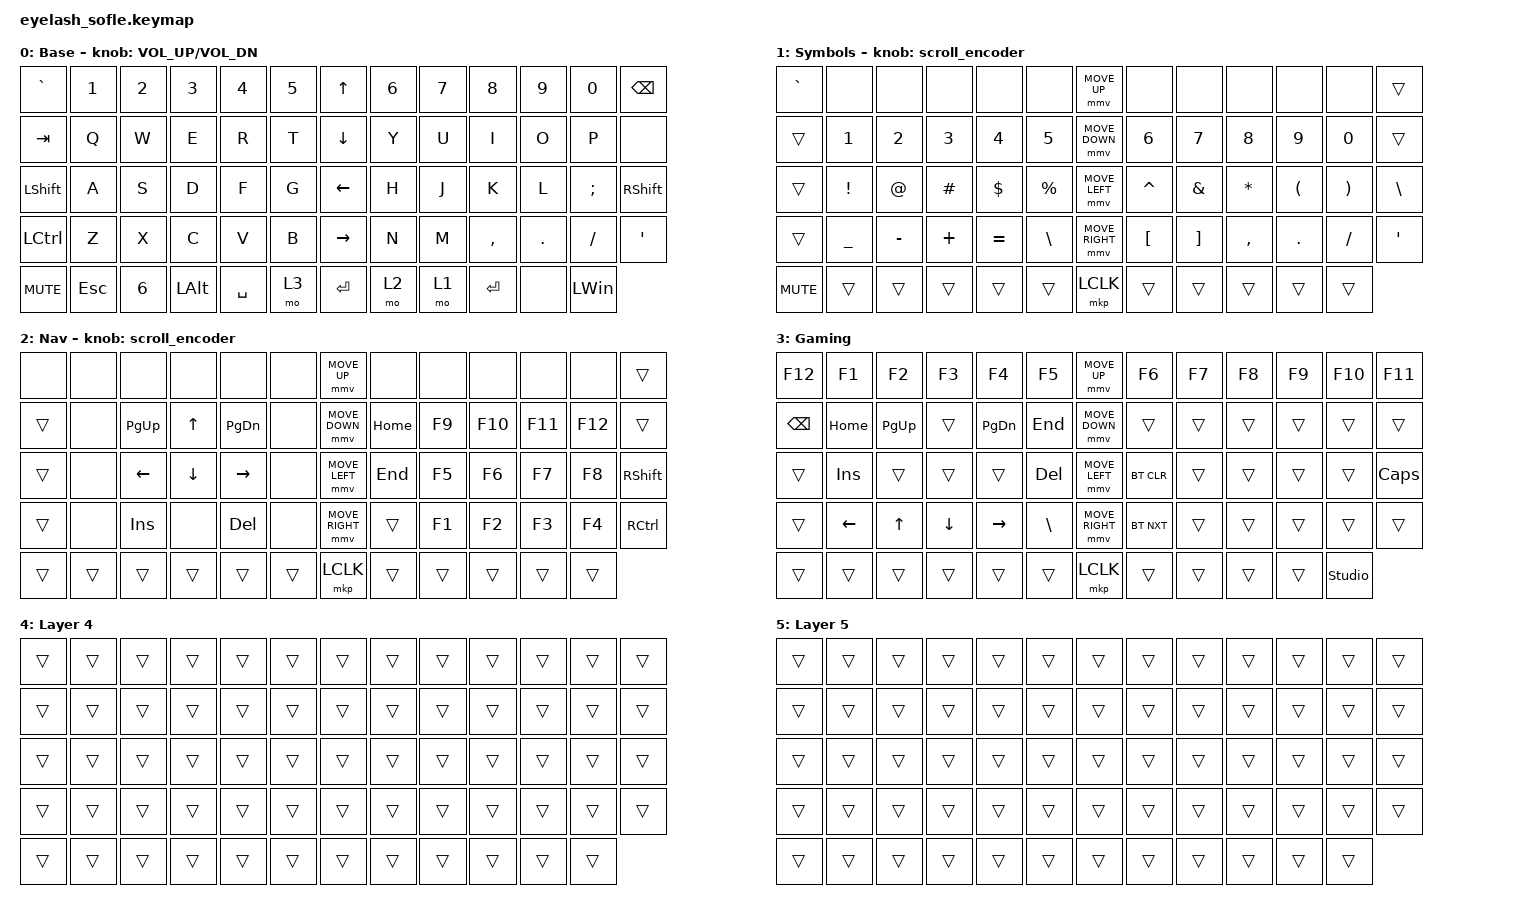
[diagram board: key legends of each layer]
#define ZMK_POINTING_DEFAULT_MOVE_VAL 1200  // 600
#define ZMK_POINTING_DEFAULT_SCRL_VAL 25   // 10

#include <input/processors.dtsi>
#include <zephyr/dt-bindings/input/input-event-codes.h>
#include <behaviors.dtsi>
#include <dt-bindings/zmk/bt.h>
#include <dt-bindings/zmk/keys.h>
#include <dt-bindings/zmk/pointing.h>

&mmv_input_listener { input-processors = <&zip_xy_scaler 2 1>; };

&msc_input_listener { input-processors = <&zip_scroll_scaler 2 1>; };

&msc {
    acceleration-exponent = <1>;      // 0
    time-to-max-speed-ms = <100>;       // 300
    delay-ms = <0>;                   // 0
};

&mmv {
    time-to-max-speed-ms = <500>;
    acceleration-exponent = <1>;
    trigger-period-ms = <16>;
};

/ {
    scroll_encoder: scroll_encoder {
        compatible = "zmk,behavior-sensor-rotate";
        #sensor-binding-cells = <0>;
        bindings = <&msc SCRL_DOWN>, <&msc SCRL_UP>;

        tap-ms = <100>;
    };

    behaviors {
    };

    keymap {
        compatible = "zmk,keymap";

        layer0 {
            bindings = <
&kp GRAVE         &kp N1   &kp N2        &kp N3        &kp N4     &kp N5    &kp UP_ARROW     &kp N6  &kp N7  &kp N8     &kp N9   &kp N0        &kp BACKSPACE
&kp TAB           &kp Q    &kp W         &kp E         &kp R      &kp T     &kp DOWN_ARROW   &kp Y   &kp U   &kp I      &kp O    &kp P         &none
&kp LEFT_SHIFT    &kp A    &kp S         &kp D         &kp F      &kp G     &kp LEFT_ARROW   &kp H   &kp J   &kp K      &kp L    &kp SEMI      &kp RIGHT_SHIFT
&kp LEFT_CONTROL  &kp Z    &kp X         &kp C         &kp V      &kp B     &kp RIGHT_ARROW  &kp N   &kp M   &kp COMMA  &kp DOT  &kp FSLH      &kp APOS
&kp C_MUTE        &kp ESC  &kp NUMBER_6  &kp LEFT_ALT  &kp SPACE  &mo 3     &kp ENTER        &mo 2   &mo 1   &kp ENTER  &none    &kp LEFT_WIN
            >;

            sensor-bindings = <&inc_dec_kp C_VOLUME_UP C_VOL_DN>;
            display-name = "Base";
        };

        layer_1 {
            bindings = <
&kp GRAVE   &none         &none         &none         &none         &none            &mmv MOVE_UP     &none             &none              &none         &none                 &none                  &trans
&trans      &kp NUMBER_1  &kp NUMBER_2  &kp NUMBER_3  &kp NUMBER_4  &kp N5           &mmv MOVE_DOWN   &kp NUMBER_6      &kp N7             &kp N8        &kp N9                &kp N0                 &trans
&trans      &kp EXCL      &kp AT        &kp HASH      &kp DOLLAR    &kp PERCENT      &mmv MOVE_LEFT   &kp CARET         &kp AMPERSAND      &kp ASTERISK  &kp LEFT_PARENTHESIS  &kp RIGHT_PARENTHESIS  &kp BACKSLASH
&trans      &kp UNDER     &kp MINUS     &kp PLUS      &kp EQUAL     &kp BACKSLASH    &mmv MOVE_RIGHT  &kp LEFT_BRACKET  &kp RIGHT_BRACKET  &kp COMMA     &kp PERIOD            &kp SLASH              &kp APOS
&kp C_MUTE  &trans        &trans        &trans        &trans        &trans           &mkp LCLK        &trans            &trans             &trans        &trans                &trans
            >;

            display-name = "Symbols";
            sensor-bindings = <&scroll_encoder>;
        };

        layer_2 {
            bindings = <
&none   &none   &none       &none         &none          &none     &mmv MOVE_UP     &none     &none   &none    &none    &none    &trans
&trans  &none   &kp PG_UP   &kp UP_ARROW  &kp PAGE_DOWN  &none     &mmv MOVE_DOWN   &kp HOME  &kp F9  &kp F10  &kp F11  &kp F12  &trans
&trans  &none   &kp LEFT    &kp DOWN      &kp RIGHT      &none     &mmv MOVE_LEFT   &kp END   &kp F5  &kp F6   &kp F7   &kp F8   &kp RIGHT_SHIFT
&trans  &none   &kp INSERT  &none         &kp DELETE     &none     &mmv MOVE_RIGHT  &trans    &kp F1  &kp F2   &kp F3   &kp F4   &kp RIGHT_CONTROL
&trans  &trans  &trans      &trans        &trans         &trans    &mkp LCLK        &trans    &trans  &trans   &trans   &trans
            >;

            display-name = "Nav";
            sensor-bindings = <&scroll_encoder>;
        };

        layer_3 {
            bindings = <
&kp F12        &kp F1      &kp F2        &kp F3          &kp F4         &kp F5           &mmv MOVE_UP     &kp F6      &kp F7  &kp F8  &kp F9  &kp F10         &kp F11
&kp BACKSPACE  &kp HOME    &kp PG_UP     &trans          &kp PAGE_DOWN  &kp END          &mmv MOVE_DOWN   &trans      &trans  &trans  &trans  &trans          &trans
&trans         &kp INSERT  &trans        &trans          &trans         &kp DELETE       &mmv MOVE_LEFT   &bt BT_CLR  &trans  &trans  &trans  &trans          &kp CAPSLOCK
&trans         &kp LEFT    &kp UP_ARROW  &kp DOWN_ARROW  &kp RIGHT      &kp BACKSLASH    &mmv MOVE_RIGHT  &bt BT_NXT  &trans  &trans  &trans  &trans          &trans
&trans         &trans      &trans        &trans          &trans         &trans           &mkp LCLK        &trans      &trans  &trans  &trans  &studio_unlock
            >;

            display-name = "Gaming";
        };

        layer_4 {
            bindings = <
&trans  &trans  &trans  &trans  &trans  &trans    &trans  &trans  &trans  &trans  &trans  &trans  &trans
&trans  &trans  &trans  &trans  &trans  &trans    &trans  &trans  &trans  &trans  &trans  &trans  &trans
&trans  &trans  &trans  &trans  &trans  &trans    &trans  &trans  &trans  &trans  &trans  &trans  &trans
&trans  &trans  &trans  &trans  &trans  &trans    &trans  &trans  &trans  &trans  &trans  &trans  &trans
&trans  &trans  &trans  &trans  &trans  &trans    &trans  &trans  &trans  &trans  &trans  &trans
            >;

            display-name = "Layer 4";
        };

        layer_5 {
            bindings = <
&trans  &trans  &trans  &trans  &trans  &trans    &trans  &trans  &trans  &trans  &trans  &trans  &trans
&trans  &trans  &trans  &trans  &trans  &trans    &trans  &trans  &trans  &trans  &trans  &trans  &trans
&trans  &trans  &trans  &trans  &trans  &trans    &trans  &trans  &trans  &trans  &trans  &trans  &trans
&trans  &trans  &trans  &trans  &trans  &trans    &trans  &trans  &trans  &trans  &trans  &trans  &trans
&trans  &trans  &trans  &trans  &trans  &trans    &trans  &trans  &trans  &trans  &trans  &trans
            >;

            display-name = "Layer 5";
        };
    };
};
